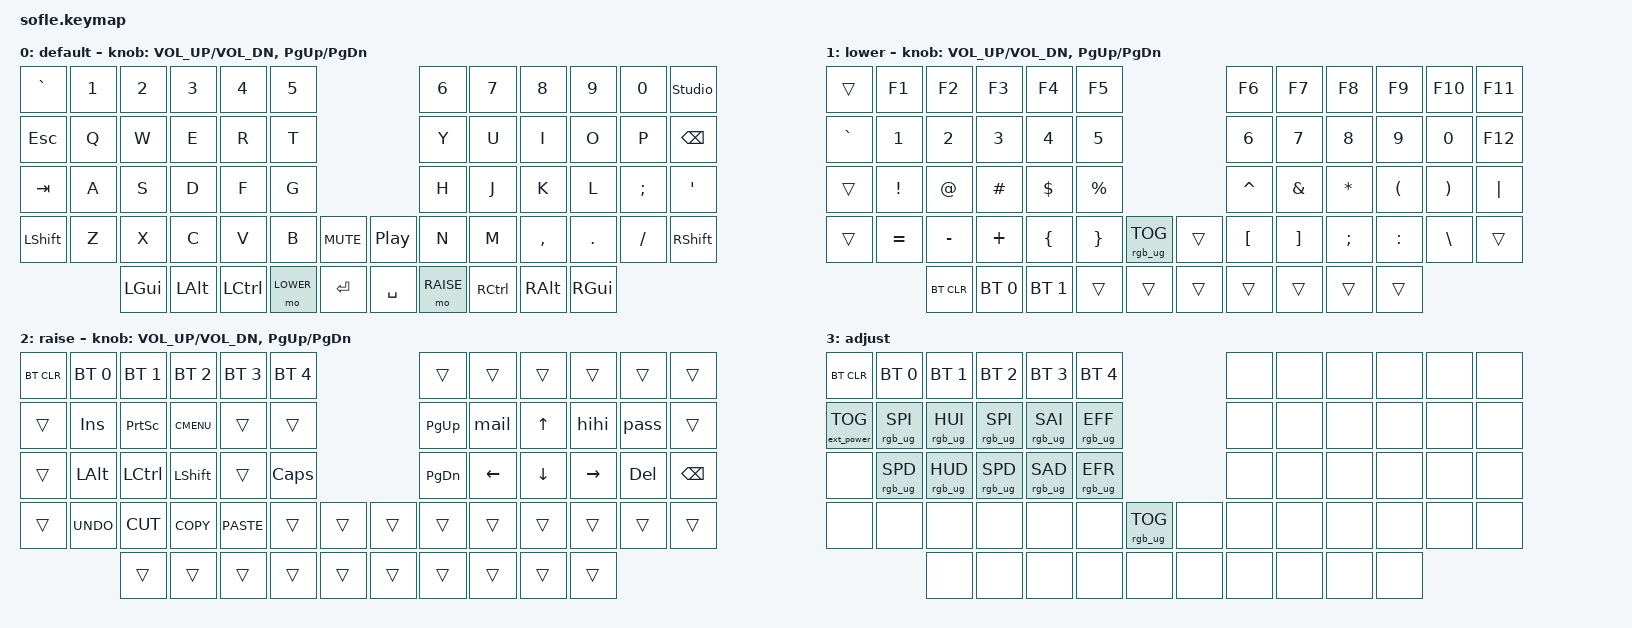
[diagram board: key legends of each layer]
/*
 * Copyright (c) 2020 The ZMK Contributors
 *
 * SPDX-License-Identifier: MIT
 */

#include <behaviors.dtsi>
#include <dt-bindings/zmk/bt.h>
#include <dt-bindings/zmk/ext_power.h>
#include <dt-bindings/zmk/keys.h>
#include <dt-bindings/zmk/rgb.h>

#define BASE 0
#define LOWER 1
#define RAISE 2
#define ADJUST 3

/ {
    // Activate ADJUST layer by pressing raise and lower

    conditional_layers {
        compatible = "zmk,conditional-layers";

        adjust_layer {
            if-layers = <LOWER RAISE>;
            then-layer = <ADJUST>;
        };
    };

    macros {
        pass: pass {
            compatible = "zmk,behavior-macro";
            #binding-cells = <0>;
            bindings = <&kp N6 &kp LS(O) &kp N6 &kp J &kp LS(N) &kp LS(J) &kp I &kp P &kp N6 &kp N6 &kp AT &kp RET>;
            label = "PASS";
        };

        mail: mail {
            compatible = "zmk,behavior-macro";
            #binding-cells = <0>;
            bindings = <&kp I &kp W &kp B &kp R &kp H &kp W &kp F &kp Y &kp AT &kp G &kp M &kp A &kp I &kp L &kp DOT &kp C &kp O &kp M &kp RET>;
            label = "MAIL";
        };

        hihi: hihi {
            compatible = "zmk,behavior-macro";
            #binding-cells = <0>;
            bindings = <&none &kp COLON &kp RPAR &kp RPAR>;
            label = "HIHI";
        };
    };

    keymap {
        compatible = "zmk,keymap";

        default_layer {
            display-name = "default";

            // ------------------------------------------------------------------------------------------------------------
            // |   `   |  1  |  2  |  3   |  4   |  5   |                   |  6   |  7    |  8    |  9   |   0   |       |
            // |  ESC  |  Q  |  W  |  E   |  R   |  T   |                   |  Y   |  U    |  I    |  O   |   P   | BKSPC |
            // |  TAB  |  A  |  S  |  D   |  F   |  G   |                   |  H   |  J    |  K    |  L   |   ;   |   '   |
            // | SHIFT |  Z  |  X  |  C   |  V   |  B   |  MUTE  |  | PLAY  |  N   |  M    |  ,    |  .   |   /   | SHIFT |
            //               | GUI | ALT  | CTRL | LOWER|  ENTER |  | SPACE | RAISE| CTRL  | ALT   | GUI  |

            bindings = <
&kp GRAVE  &kp N1  &kp N2    &kp N3    &kp N4     &kp N5                              &kp N6     &kp N7     &kp N8     &kp N9    &kp N0    &studio_unlock
&kp ESC    &kp Q   &kp W     &kp E     &kp R      &kp T                               &kp Y      &kp U      &kp I      &kp O     &kp P     &kp BSPC
&kp TAB    &kp A   &kp S     &kp D     &kp F      &kp G                               &kp H      &kp J      &kp K      &kp L     &kp SEMI  &kp SQT
&kp LSHFT  &kp Z   &kp X     &kp C     &kp V      &kp B      &kp C_MUTE    &kp C_PP   &kp N      &kp M      &kp COMMA  &kp DOT   &kp FSLH  &kp RSHFT
                   &kp LGUI  &kp LALT  &kp LCTRL  &mo LOWER  &kp RET       &kp SPACE  &mo RAISE  &kp RCTRL  &kp RALT   &kp RGUI
            >;

            sensor-bindings = <&inc_dec_kp C_VOL_UP C_VOL_DN &inc_dec_kp PG_UP PG_DN>;
        };

        lower_layer {
            display-name = "lower";

            // TODO: Some binds are waiting for shifted keycode support.
            // ------------------------------------------------------------------------------------------------------------
            // |       |  F1 |  F2 |  F3  |  F4  |  F5  |                   |  F6  |  F7   |  F8   |  F9  |  F10  |  F11  |
            // |   `   |  1  |  2  |  3   |  4   |  5   |                   |  6   |  7    |  8    |  9   |   0   |  F12  |
            // |       |  !  |  @  |  #   |  $   |  %   |                   |  ^   |  &    |  *    |  (   |   )   |   |   |
            // |       |  =  |  -  |  +   |  {   |  }   |        |  |       |  [   |  ]    |  ;    |  :   |   \   |       |
            //               |     |      |      |      |        |  |       |      |       |       |      |

            bindings = <
&trans     &kp F1     &kp F2      &kp F3        &kp F4        &kp F5                                &kp F6     &kp F7    &kp F8     &kp F9     &kp F10   &kp F11
&kp GRAVE  &kp N1     &kp N2      &kp N3        &kp N4        &kp N5                                &kp N6     &kp N7    &kp N8     &kp N9     &kp N0    &kp F12
&trans     &kp EXCL   &kp AT      &kp HASH      &kp DLLR      &kp PRCNT                             &kp CARET  &kp AMPS  &kp ASTRK  &kp LPAR   &kp RPAR  &kp PIPE
&trans     &kp EQUAL  &kp MINUS   &kp PLUS      &kp LBRC      &kp RBRC   &rgb_ug RGB_TOG    &trans  &kp LBKT   &kp RBKT  &kp SEMI   &kp COLON  &kp BSLH  &trans
                      &bt BT_CLR  &bt BT_SEL 0  &bt BT_SEL 1  &trans     &trans             &trans  &trans     &trans    &trans     &trans
            >;

            sensor-bindings = <&inc_dec_kp C_VOL_UP C_VOL_DN &inc_dec_kp PG_UP PG_DN>;
        };

        raise_layer {
            display-name = "raise";

            // ------------------------------------------------------------------------------------------------------------
            // | BTCLR | BT1  | BT2  |  BT3  |  BT4  |  BT5 |                |      |      |       |      |       |       |
            // |       | INS  | PSCR | GUI   |       |      |                | PGUP |      |   ^   |      |       |       |
            // |       | ALT  | CTRL | SHIFT |       | CAPS |                | PGDN |   <- |   v   |  ->  |  DEL  | BKSPC |
            // |       | UNDO | CUT  | COPY  | PASTE |      |      |  |      |      |      |       |      |       |       |
            //                |      |       |       |      |      |  |      |      |      |       |      |

            bindings = <
&bt BT_CLR  &bt BT_SEL 0  &bt BT_SEL 1  &bt BT_SEL 2  &bt BT_SEL 3  &bt BT_SEL 4                    &trans     &trans    &trans    &trans     &trans   &trans
&trans      &kp INS       &kp PSCRN     &kp K_CMENU   &trans        &trans                          &kp PG_UP  &mail     &kp UP    &hihi      &pass    &trans
&trans      &kp LALT      &kp LCTRL     &kp LSHFT     &trans        &kp CLCK                        &kp PG_DN  &kp LEFT  &kp DOWN  &kp RIGHT  &kp DEL  &kp BSPC
&trans      &kp K_UNDO    &kp K_CUT     &kp K_COPY    &kp K_PASTE   &trans        &trans    &trans  &trans     &trans    &trans    &trans     &trans   &trans
                          &trans        &trans        &trans        &trans        &trans    &trans  &trans     &trans    &trans    &trans
            >;

            sensor-bindings = <&inc_dec_kp C_VOL_UP C_VOL_DN &inc_dec_kp PG_UP PG_DN>;
        };

        adjust_layer {
            // ----------------------------------------------------------------------------------------------------------------------------
            // | BTCLR  |  BT1    |  BT2    |   BT3   |   BT4   |   BT5   |                  |      |      |       |      |       |       |
            // | EXTPWR | RGB_HUD | RGB_HUI | RGB_SAD | RGB_SAI | RGB_EFF |                  |      |      |       |      |       |       |
            // |        | RGB_BRD | RGB_BRI |         |         |         |                  |      |      |       |      |       |       |
            // |        |         |         |         |         |         | RGB_TOG | |      |      |      |       |      |       |       |
            //                    |         |         |         |         |         | |      |      |      |       |      |

            display-name = "adjust";
            bindings = <
&bt BT_CLR         &bt BT_SEL 0     &bt BT_SEL 1     &bt BT_SEL 2     &bt BT_SEL 3     &bt BT_SEL 4                               &none  &none  &none  &none  &none  &none
&ext_power EP_TOG  &rgb_ug RGB_SPI  &rgb_ug RGB_HUI  &rgb_ug RGB_SPI  &rgb_ug RGB_SAI  &rgb_ug RGB_EFF                            &none  &none  &none  &none  &none  &none
&none              &rgb_ug RGB_SPD  &rgb_ug RGB_HUD  &rgb_ug RGB_SPD  &rgb_ug RGB_SAD  &rgb_ug RGB_EFR                            &none  &none  &none  &none  &none  &none
&none              &none            &none            &none            &none            &none            &rgb_ug RGB_TOG    &none  &none  &none  &none  &none  &none  &none
                                    &none            &none            &none            &none            &none              &none  &none  &none  &none  &none
            >;
        };
    };
};
